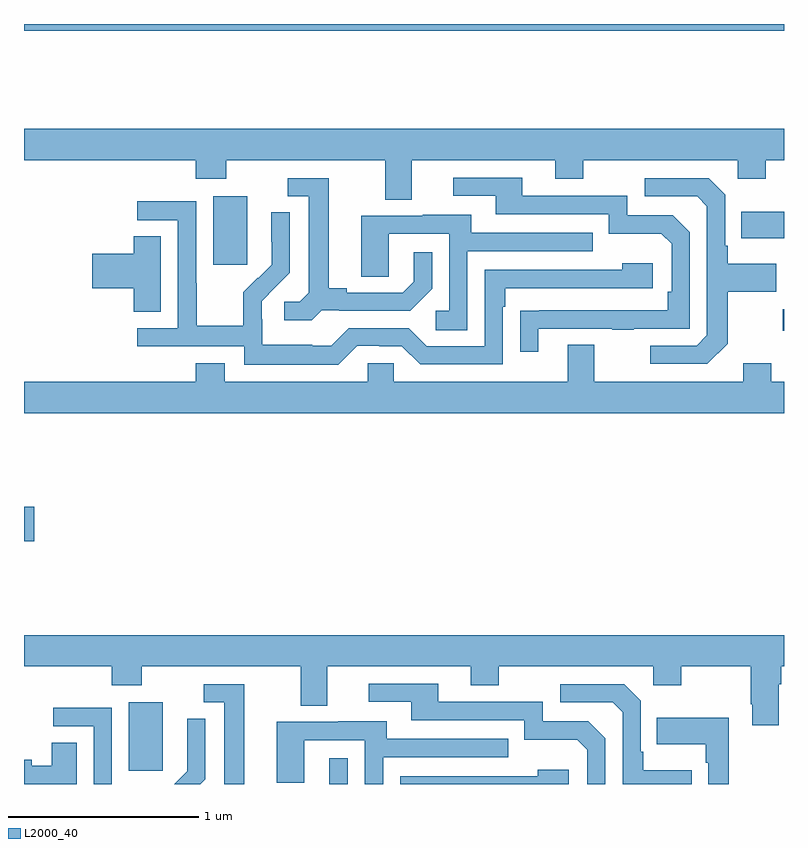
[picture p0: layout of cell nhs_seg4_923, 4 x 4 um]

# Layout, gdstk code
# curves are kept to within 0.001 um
import gdstk
lib = gdstk.Library(unit=1e-6, precision=1e-09)
def R(c, l, rs):  # rectangles x0, y0, x1, y1
    for r in rs: c.add(gdstk.rectangle(r[:2], r[2:], *l))
def P(c, l, *ps):  # polygons
    for p in ps: c.add(gdstk.Polygon(p, *l))
L2000_40 = (2000, 40)

nhs_seg4_923 = lib.new_cell('nhs_seg4_923')
R(nhs_seg4_923, L2000_40, [(160.607,762.9,160.704,763.036), (159.551,762.969,159.73,763.33), (159,764.177,159.055,764.36), (162.993,765.285,163,765.398), (159.995,765.633,160.174,765.994), (162.775,765.773,163,765.913), (159,766.864,163,766.9)])
P(nhs_seg4_923, L2000_40, [(161.041,766.184),(161.795,766.184),(161.795,766.085),(161.943,766.085),(161.943,766.184),(162.756,766.184),(162.756,766.085),(162.903,766.085),(162.903,766.184),(163,766.184),(163,766.348),(159,766.348),(159,766.184),(159.905,766.184),(159.905,766.085),(160.065,766.085),(160.065,766.184),(160.901,766.184),(160.901,765.976),(161.041,765.976)],
  [(161.707,765.297),(162.097,765.297),(162.097,765.292),(162.209,765.292),(162.209,765.297),(162.504,765.297),(162.504,765.804),(162.414,765.894),(162.174,765.894),(162.174,765.996),(161.623,765.996),(161.623,766.092),(161.259,766.092),(161.259,765.996),(161.483,765.996),(161.483,765.9),(162.078,765.9),(162.078,765.797),(162.355,765.797),(162.408,765.744),(162.408,765.49),(162.388,765.49),(162.388,765.393),(161.611,765.392),(161.611,765.174),(161.707,765.174)],
  [(162.703,765.217),(162.703,765.49),(162.959,765.49),(162.959,765.637),(162.703,765.637),(162.703,765.733),(162.69,765.733),(162.69,766.002),(162.603,766.089),(162.267,766.089),(162.267,765.993),(162.543,765.993),(162.594,765.942),(162.594,765.261),(162.54,765.207),(162.297,765.207),(162.297,765.111),(162.597,765.111)],
  [(160.566,765.393),(160.66,765.393),(160.66,765.39),(161.032,765.39),(161.148,765.506),(161.148,765.7),(161.051,765.7),(161.051,765.543),(160.994,765.486),(160.699,765.486),(160.699,765.509),(160.603,765.509),(160.603,766.089),(160.389,766.089),(160.389,765.993),(160.499,765.993),(160.499,765.485),(160.452,765.438),(160.371,765.438),(160.371,765.341),(160.514,765.341)],
  [(160.755,765.207),(160.871,765.207),(160.871,765.204),(160.989,765.204),(161.085,765.108),(161.52,765.108),(161.52,765.413),(161.533,765.413),(161.533,765.51),(162.31,765.51),(162.31,765.64),(162.149,765.64),(162.149,765.606),(161.424,765.606),(161.424,765.204),(161.121,765.204),(161.025,765.3),(160.71,765.3),(160.617,765.207),(160.517,765.207),(160.517,765.211),(160.254,765.211),(160.254,765.345),(160.252,765.345),(160.252,765.442),(160.398,765.59),(160.398,765.908),(160.302,765.908),(160.302,765.754),(160.304,765.754),(160.304,765.632),(160.233,765.561),(160.23,765.564),(160.153,765.487),(160.153,765.313),(159.909,765.313),(159.909,765.536),(159.906,765.536),(159.906,765.966),(159.597,765.966),(159.597,765.867),(159.81,765.867),(159.81,765.3),(159.597,765.3),(159.597,765.204),(160.158,765.204),(160.158,765.107),(160.655,765.107)],
  [(161.334,765.705),(161.993,765.705),(161.993,765.801),(161.353,765.801),(161.353,765.895),(161.099,765.895),(161.099,765.891),(160.775,765.891),(160.775,765.571),(160.92,765.571),(160.92,765.795),(161.238,765.795),(161.238,765.39),(161.166,765.39),(161.166,765.289),(161.334,765.289)],
  [(159.721,765.782),(159.578,765.782),(159.578,765.692),(159.36,765.692),(159.36,765.509),(159.578,765.509),(159.578,765.385),(159.721,765.385)],
  [(163,765.016),(162.933,765.016),(162.933,765.115),(162.785,765.115),(162.785,765.016),(162.001,765.016),(162.001,765.211),(161.861,765.211),(161.861,765.016),(160.947,765.016),(160.947,765.114),(160.809,765.114),(160.809,765.016),(160.057,765.016),(160.057,765.115),(159.905,765.115),(159.905,765.016),(159,765.016),(159,764.852),(163,764.852)],
  [(162.973,763.424),(162.986,763.424),(162.986,763.52),(163,763.52),(163,763.684),(159,763.684),(159,763.52),(159.461,763.52),(159.461,763.421),(159.621,763.421),(159.621,763.52),(160.457,763.52),(160.457,763.312),(160.597,763.312),(160.597,763.52),(161.351,763.52),(161.351,763.421),(161.499,763.421),(161.499,763.52),(162.312,763.52),(162.312,763.421),(162.459,763.421),(162.459,763.52),(162.826,763.52),(162.826,763.321),(162.833,763.321),(162.833,763.209),(162.973,763.209)],
  [(162.06,763.14),(161.97,763.23),(161.73,763.23),(161.73,763.332),(161.179,763.332),(161.179,763.428),(160.815,763.428),(160.815,763.332),(161.039,763.332),(161.039,763.236),(161.634,763.236),(161.634,763.133),(161.911,763.133),(161.964,763.08),(161.964,762.9),(162.06,762.9)],
  [(160.159,763.425),(159.945,763.425),(159.945,763.329),(160.055,763.329),(160.055,762.9),(160.159,762.9)],
  [(162.515,762.973),(162.259,762.973),(162.259,763.069),(162.246,763.069),(162.246,763.338),(162.159,763.425),(161.823,763.425),(161.823,763.329),(162.099,763.329),(162.15,763.278),(162.15,762.9),(162.515,762.9)],
  [(159.462,763.302),(159.153,763.302),(159.153,763.203),(159.366,763.203),(159.366,762.9),(159.462,762.9)],
  [(162.709,763.249),(162.331,763.249),(162.331,763.109),(162.588,763.109),(162.588,763.013),(162.6,763.013),(162.6,762.9),(162.709,762.9)],
  [(159.954,762.926),(159.954,763.244),(159.858,763.244),(159.858,763.09),(159.86,763.09),(159.86,762.968),(159.792,762.9),(159.928,762.9)],
  [(160.89,763.041),(161.549,763.041),(161.549,763.137),(160.909,763.137),(160.909,763.231),(160.655,763.231),(160.655,763.227),(160.331,763.227),(160.331,762.907),(160.476,762.907),(160.476,763.131),(160.794,763.131),(160.794,762.9),(160.89,762.9)],
  [(159.277,763.118),(159.146,763.118),(159.146,762.997),(159.042,762.997),(159.042,763.028),(159,763.028),(159,762.9),(159.277,762.9)],
  [(161.866,762.976),(161.705,762.976),(161.705,762.942),(160.98,762.942),(160.98,762.9),(161.866,762.9)])

lib.write_gds('nhs_seg4_923.gds')
